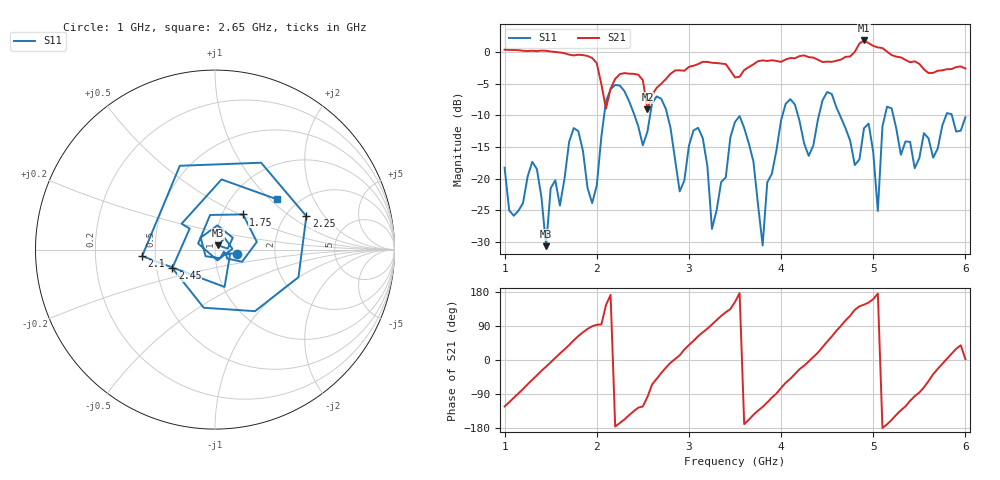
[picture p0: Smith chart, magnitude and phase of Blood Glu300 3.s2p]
! NanoVNA-App
! Date: 2024-03-21 18:38:38
! Start: 1GHz Stop: 6GHz Points: 101
! S-Parameter data: F S11 S21 S12 S22
# Hz S RI R 50
!	Frequency	S11_Real	S11_Imag	S21_Real	S21_Imag	S12_Real	S12_Imag	S22_Real	S22_Imag
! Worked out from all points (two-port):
!   101 points, 1 GHz to 6 GHz, reference 50 ohm
!   highest |S21| = 1.79 dB at 4.9 GHz (marker M1); lowest = -9.1 dB at 2.55 GHz (marker M2)
!   |S21| within 3 dB of the highest: start of sweep to 1.964 GHz; 4.652 GHz to 5.341 GHz (689.3 MHz wide, 13.8 % of centre)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
!   lowest |S11| = -30.6 dB at 1.45 GHz (marker M3), VSWR 1.06, Z = 51.7 + j2.46 ohm
!   |S11| at or under -10 dB: start of sweep to 2.08 GHz; 2.767 GHz to 4.015 GHz (1.249 GHz wide, 36.8 % of centre); 5.217 GHz to 5.791 GHz (574.5 MHz wide, 10.4 % of centre)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
!   S12 and S22 are empty: the file has one direction only
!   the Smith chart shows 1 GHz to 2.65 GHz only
!   S11 on the Smith chart (normalised r, x): 1 GHz: 1.27, -0.06; 1.75 GHz: 1.25, +0.52; 2.1 GHz: 0.42, -0.04; 2.25 GHz: 2.56, +1.35; 2.45 GHz: 0.60, -0.13; 2.65 GHz: 1.58, +1.11
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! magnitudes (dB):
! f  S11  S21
! 1 GHz  -18.3  0.3
! 1.45 GHz  -30.6  0.2
! 1.75 GHz  -12.0  -0.6
! 1.85 GHz  -15.6  -0.5
! 1.95 GHz  -23.9  -1.0
! 2.1 GHz  -7.8  -9.0
! 2.25 GHz  -5.3  -3.5
! 2.45 GHz  -11.7  -3.6
! 2.55 GHz  -12.6  -9.1
! 2.65 GHz  -7.0  -5.7
! 2.7 GHz  -7.4  -5.0
! 2.9 GHz  -22.0  -2.9
! 3.15 GHz  -13.6  -1.6
! 3.25 GHz  -27.9  -1.7
! 3.5 GHz  -11.1  -4.0
! 3.8 GHz  -30.5  -1.4
! 4.05 GHz  -8.2  -1.2
! 4.35 GHz  -14.8  -0.9
! 4.9 GHz  -12.0  1.8
! 5.05 GHz  -25.1  0.7
! 5.2 GHz  -8.9  -0.5
! 6 GHz  -10.3  -2.6
